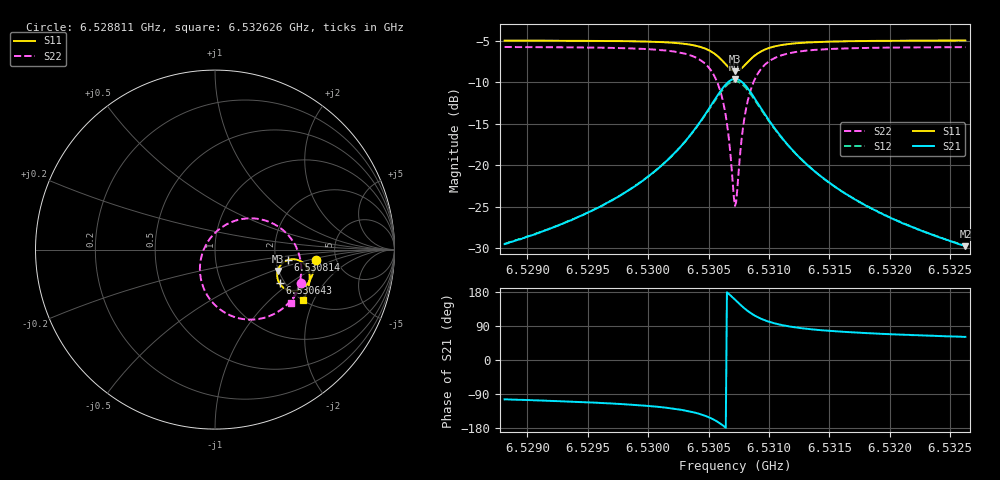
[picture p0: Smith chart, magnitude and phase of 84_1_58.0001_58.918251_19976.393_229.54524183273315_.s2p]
#  HZ  S  RI  R  50.00
! Rohde & Schwarz Vector Network Analyzer
! Rohde-Schwarz,ZNB20-2Port,1311601062101988,3.16
! Created: UTC 3/21/2024, 12:54:01 AM
! freq[Hz]  re:S11  im:S11  re:S21  im:S21  re:S12  im:S12  re:S22  im:S22
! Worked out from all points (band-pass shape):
!   401 points, 6.528811 GHz to 6.532626 GHz, reference 50 ohm
!   highest |S21| = -9.60 dB at 6.530719 GHz (marker M1); lowest = -29.7 dB at 6.532626 GHz (marker M2)
!   |S21| within 3 dB of the highest: 6.530529 GHz to 6.530911 GHz (381.4 kHz wide, 0.00584 % of centre)
!   lowest |S11| = -8.7 dB at 6.530719 GHz (marker M3), VSWR 2.17, Z = 98.7 - j27.1 ohm
!   |S11| at or under -10 dB: nowhere
!   |S22| runs from -24.9 to -5.7 dB; largest |S21 - S12| = 0.014
!   S11 on the Smith chart (normalised r, x): 6.528811 GHz: 3.48, -0.57; 6.530643 GHz: 1.88, -0.84; 6.530814 GHz: 2.34, -0.33; 6.532626 GHz: 2.02, -1.66
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6.5288113e9  0.5606 -0.056  -0.00808 -0.0326  -0.00866 -0.0326  0.4813 -0.1859
6.5294504e9  0.5512 -0.1108  -0.0181 -0.0464  -0.0192 -0.0462  0.4489 -0.248
6.5297842e9  0.5414 -0.1432  -0.0298 -0.0597  -0.0313 -0.0592  0.4176 -0.2894
6.5300894e9  0.5239 -0.1783  -0.0539 -0.08  -0.0562 -0.0787  0.3628 -0.3385
6.5303087e9  0.4961 -0.2088  -0.0964 -0.1017  -0.0995 -0.0982  0.2766 -0.3793
6.5304804e9  0.4462 -0.2295  -0.1761 -0.1087  -0.1785 -0.101  0.1306 -0.382
6.5305758e9  0.3966 -0.2212  -0.2534 -0.076  -0.2519 -0.0649  0.00233 -0.3113
6.5306139e9  0.3742 -0.2059  -0.2866 -0.0425  -0.2818 -0.0309  -0.0469 -0.248
6.5306425e9  0.3594 -0.1877  -0.3069 -0.00695  -0.2994 0.00409  -0.0735 -0.1845
6.5306712e9  0.3493 -0.1643  -0.3189 0.037  -0.3086 0.0462  -0.0842 -0.1096
6.5306998e9  0.3464 -0.1373  -0.3181 0.0859  -0.306 0.0921  -0.0731 -0.0297
6.5307188e9  0.3491 -0.1188  -0.3095 0.1183  -0.2969 0.1222  -0.0527 0.0218
6.5307379e9  0.3559 -0.1014  -0.2947 0.1486  -0.2822 0.1503  -0.0226 0.0683
6.5307761e9  0.3786 -0.0733  -0.2505 0.1959  -0.24 0.194  0.0584 0.1374
6.5308142e9  0.4073 -0.0577  -0.1982 0.2216  -0.1904 0.2177  0.1494 0.1701
6.530881e9  0.454 -0.0557  -0.1168 0.225  -0.113 0.2212  0.2862 0.1602
6.5309764e9  0.4954 -0.0776  -0.0463 0.1924  -0.0447 0.1903  0.4001 0.0891
6.5311194e9  0.5203 -0.1142  -0.00358 0.1427  -0.00234 0.1419  0.4635 -0.0121
6.5313579e9  0.528 -0.1586  0.0152 0.0937  0.0162 0.0932  0.4807 -0.1149
6.5316154e9  0.5244 -0.1919  0.0185 0.0662  0.0195 0.066  0.4733 -0.1779
6.5319969e9  0.5136 -0.2292  0.018 0.0452  0.0189 0.045  0.4546 -0.2352
6.5326263e9  0.4914 -0.2791  0.0158 0.0285  0.0164 0.0283  0.4222 -0.2954
